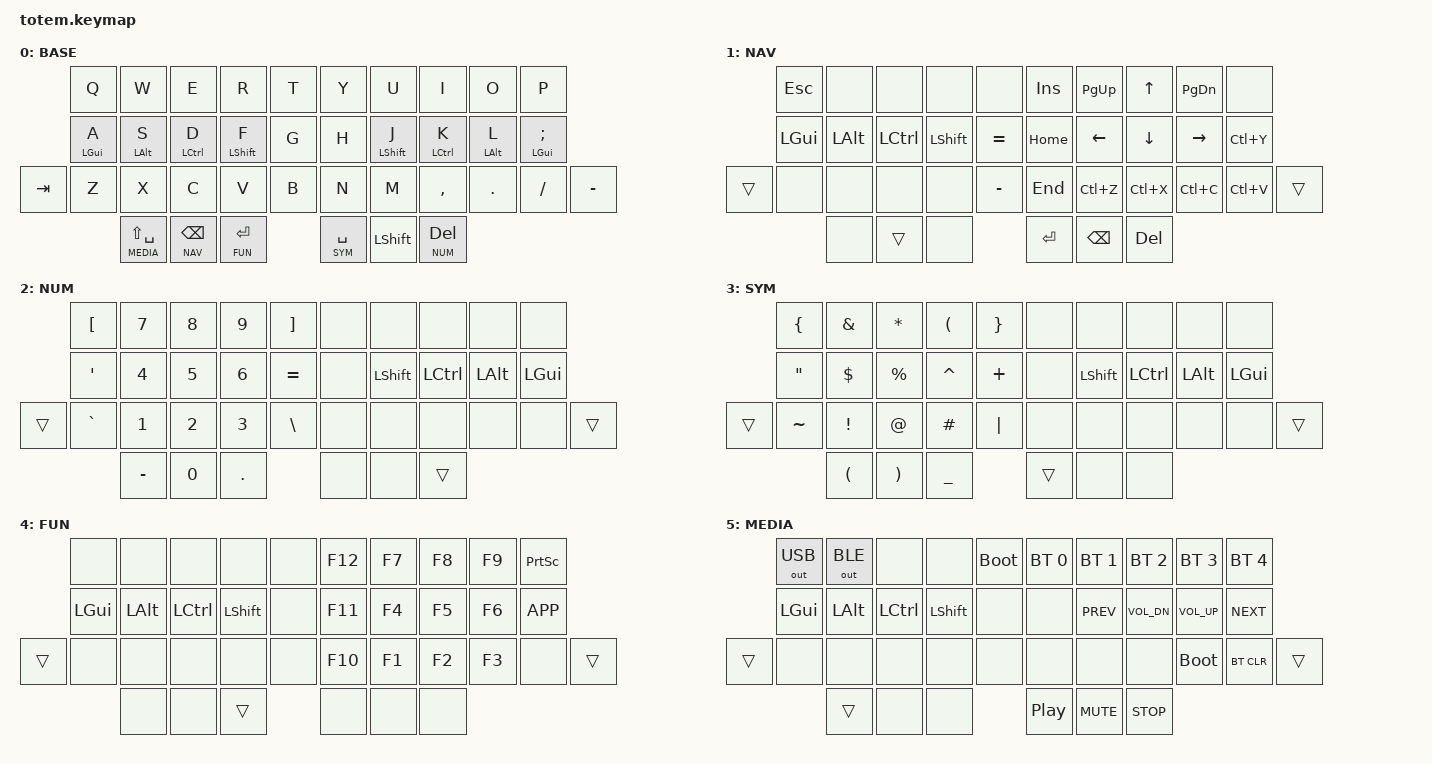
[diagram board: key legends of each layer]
/*
 * TOTEM · QWERTY Miryoku (Korean 두벌식 friendly) · for Keycoon zmk-config-totem (ZMK Studio enabled)
 *
 * Key positions
 *        0  1  2  3  4      5  6  7  8  9
 *       10 11 12 13 14     15 16 17 18 19
 *   20  21 22 23 24 25     26 27 28 29 30  31
 *             32 33 34     35 36 37
 *
 * MEDIA: 왼손 Q=USB 출력, W=블루투스 출력 / 오른손 Y~P=BT1~5, /=BT 지우기
 * Thumbs:  32 한/영 · MEDIA   33 BkSp · NAV   34 Enter · FUN
 *          35 Space · SYM     36 Shift        37 Del · NUM
 */

#include <behaviors.dtsi>
#include <dt-bindings/zmk/keys.h>
#include <dt-bindings/zmk/bt.h>
#include <dt-bindings/zmk/outputs.h>

#define BASE  0
#define NAV   1
#define NUM   2
#define SYM   3
#define FUN   4
#define MEDIA 5

#define KEYS_L 0 1 2 3 4 10 11 12 13 14 20 21 22 23 24 25
#define KEYS_R 5 6 7 8 9 15 16 17 18 19 26 27 28 29 30 31
#define THUMBS 32 33 34 35 36 37

/* ---------- timing: tune here ---------- */
#define HRM_TAPPING_TERM   230   /* 길게 누르기 판정 (ms) */
#define HRM_QUICK_TAP      175   /* 같은 키 연타 판정 (ms) */
#define HRM_PRIOR_IDLE     125   /* 타이핑 중 모디파이어 판정 끄기 (ms) */
#define THUMB_TAPPING_TERM 200   /* 엄지 레이어 키 판정 (ms) */

/ {
    behaviors {
        hml: home_row_mod_left {
            compatible = "zmk,behavior-hold-tap";
            #binding-cells = <2>;
            flavor = "balanced";
            tapping-term-ms = <HRM_TAPPING_TERM>;
            quick-tap-ms = <HRM_QUICK_TAP>;
            require-prior-idle-ms = <HRM_PRIOR_IDLE>;
            bindings = <&kp>, <&kp>;
            hold-trigger-key-positions = <KEYS_R THUMBS>;
            hold-trigger-on-release;
        };
        hmr: home_row_mod_right {
            compatible = "zmk,behavior-hold-tap";
            #binding-cells = <2>;
            flavor = "balanced";
            tapping-term-ms = <HRM_TAPPING_TERM>;
            quick-tap-ms = <HRM_QUICK_TAP>;
            require-prior-idle-ms = <HRM_PRIOR_IDLE>;
            bindings = <&kp>, <&kp>;
            hold-trigger-key-positions = <KEYS_L THUMBS>;
            hold-trigger-on-release;
        };
        lth: thumb_layer_tap {
            compatible = "zmk,behavior-hold-tap";
            #binding-cells = <2>;
            flavor = "balanced";
            tapping-term-ms = <THUMB_TAPPING_TERM>;
            quick-tap-ms = <HRM_QUICK_TAP>;
            bindings = <&mo>, <&kp>;
        };
    };



    /* Windows: 오른쪽 Alt/Ctrl은 한/영·한자 키로 동작하므로 양손 모두 왼쪽 모디파이어를 씁니다. */
    keymap {
        compatible = "zmk,keymap";

        base_layer {
            display-name = "BASE";
            bindings = <
            &kp Q          &kp W          &kp E           &kp R           &kp T              &kp Y   &kp U           &kp I           &kp O          &kp P
            &hml LGUI A    &hml LALT S    &hml LCTRL D    &hml LSHFT F    &kp G              &kp H   &hmr LSHFT J    &hmr LCTRL K    &hmr LALT L    &hmr LGUI SEMI
&kp TAB     &kp Z          &kp X          &kp C           &kp V           &kp B              &kp N   &kp M           &kp COMMA       &kp DOT        &kp FSLH        &kp MINUS
                           &lth MEDIA LS(SPACE)  &lth NAV BSPC  &lth FUN RET               &lth SYM SPACE  &kp LSHFT  &lth NUM DEL
            >;
        };

        nav_layer {
            display-name = "NAV";
            bindings = <
            &kp ESC        &none          &none           &none           &none              &kp INS    &kp PG_UP  &kp UP     &kp PG_DN  &none
            &kp LGUI       &kp LALT       &kp LCTRL       &kp LSHFT       &kp EQUAL          &kp HOME   &kp LEFT   &kp DOWN   &kp RIGHT  &kp LC(Y)
&trans      &none          &none          &none           &none           &kp MINUS          &kp END    &kp LC(Z)  &kp LC(X)  &kp LC(C)  &kp LC(V)   &trans
                                          &none           &trans          &none              &kp RET    &kp BSPC   &kp DEL
            >;
        };

        num_layer {
            display-name = "NUM";
            bindings = <
            &kp LBKT       &kp N7         &kp N8          &kp N9          &kp RBKT           &none   &none       &none       &none      &none
            &kp SQT        &kp N4         &kp N5          &kp N6          &kp EQUAL          &none   &kp LSHFT   &kp LCTRL   &kp LALT   &kp LGUI
&trans      &kp GRAVE      &kp N1         &kp N2          &kp N3          &kp BSLH           &none   &none       &none       &none      &none       &trans
                                          &kp MINUS       &kp N0          &kp DOT            &none   &none       &trans
            >;
        };

        sym_layer {
            display-name = "SYM";
            bindings = <
            &kp LBRC       &kp AMPS       &kp STAR        &kp LPAR        &kp RBRC           &none   &none       &none       &none      &none
            &kp DQT        &kp DLLR       &kp PRCNT       &kp CARET       &kp PLUS           &none   &kp LSHFT   &kp LCTRL   &kp LALT   &kp LGUI
&trans      &kp TILDE      &kp EXCL       &kp AT          &kp HASH        &kp PIPE           &none   &none       &none       &none      &none       &trans
                                          &kp LPAR        &kp RPAR        &kp UNDER          &trans  &none       &none
            >;
        };

        fun_layer {
            display-name = "FUN";
            bindings = <
            &none          &none          &none           &none           &none              &kp F12  &kp F7  &kp F8  &kp F9  &kp PSCRN
            &kp LGUI       &kp LALT       &kp LCTRL       &kp LSHFT       &none              &kp F11  &kp F4  &kp F5  &kp F6  &kp K_APP
&trans      &none          &none          &none           &none           &none              &kp F10  &kp F1  &kp F2  &kp F3  &none       &trans
                                          &none           &none           &trans             &none    &none   &none
            >;
        };

        media_layer {
            display-name = "MEDIA";
            /* 왼손 Q = USB 출력, W = 블루투스 출력 (오른쪽 없이도 누를 수 있게 왼손에 둠)
               오른손 윗줄 = 블루투스 1~5번, 오른손 / = 현재 슬롯 연결 정보 지우기 */
            bindings = <
            &out OUT_USB   &out OUT_BLE   &none           &none           &bootloader        &bt BT_SEL 0  &bt BT_SEL 1    &bt BT_SEL 2     &bt BT_SEL 3  &bt BT_SEL 4
            &kp LGUI       &kp LALT       &kp LCTRL       &kp LSHFT       &none              &none         &kp C_PREV      &kp C_VOL_DN     &kp C_VOL_UP  &kp C_NEXT
&trans      &none          &none          &none           &none           &none              &none         &none           &none            &bootloader   &bt BT_CLR    &trans
                                          &trans          &none           &none              &kp C_PP      &kp C_MUTE      &kp C_STOP
            >;
        };

        /* ZMK Studio에서 레이어를 추가할 때 쓰는 예비 레이어 */
        extra1 { status = "reserved"; };
        extra2 { status = "reserved"; };
    };
};
